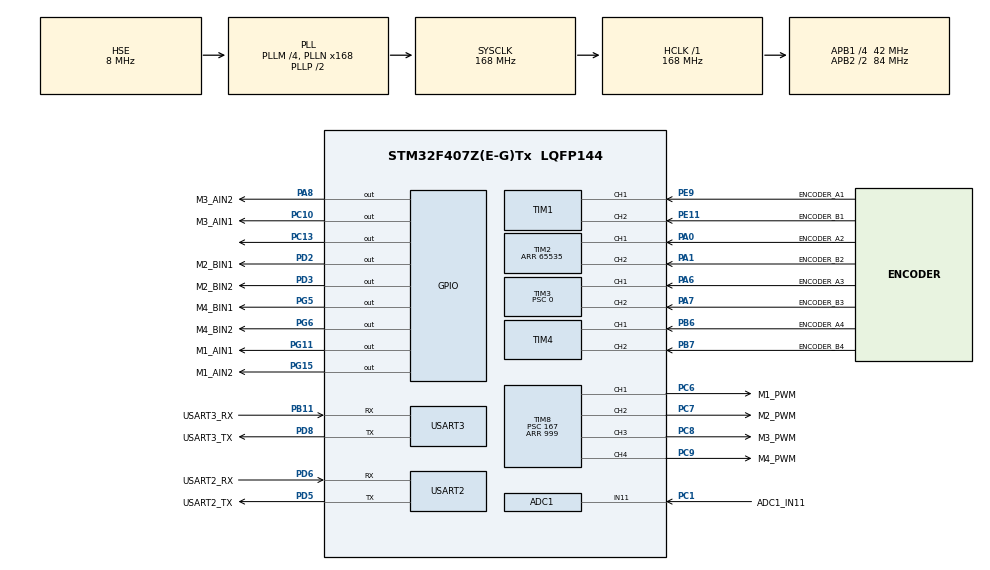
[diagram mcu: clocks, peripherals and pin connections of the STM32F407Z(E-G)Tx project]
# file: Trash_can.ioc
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ADC1.Channel-0\#ChannelRegularConversion=ADC_CHANNEL_11
ADC1.Channel-1\#ChannelInjectedConversion=ADC_CHANNEL_11
ADC1.InjNumberOfConversion=1
ADC1.InjectedOffset-1\#ChannelInjectedConversion=0
ADC1.InjectedRank-1\#ChannelInjectedConversion=1
ADC1.NbrOfConversion=1
ADC1.NbrOfConversionFlag=1
ADC1.Rank-0\#ChannelRegularConversion=1
ADC1.SamplingTime-0\#ChannelRegularConversion=ADC_SAMPLETIME_3CYCLES
ADC1.SamplingTime-1\#ChannelInjectedConversion=ADC_SAMPLETIME_15CYCLES
ADC1.master=1
Dma.Request0=USART2_RX
Dma.Request1=USART2_TX
Dma.USART2_RX.0.Direction=DMA_PERIPH_TO_MEMORY
Dma.USART2_RX.0.FIFOMode=DMA_FIFOMODE_DISABLE
Dma.USART2_RX.0.Instance=DMA1_Stream5
Dma.USART2_RX.0.MemDataAlignment=DMA_MDATAALIGN_BYTE
Dma.USART2_RX.0.MemInc=DMA_MINC_ENABLE
Dma.USART2_RX.0.Mode=DMA_CIRCULAR
Dma.USART2_RX.0.PeriphDataAlignment=DMA_PDATAALIGN_BYTE
Dma.USART2_RX.0.PeriphInc=DMA_PINC_DISABLE
Dma.USART2_RX.0.Priority=DMA_PRIORITY_LOW
Dma.USART2_TX.1.Direction=DMA_MEMORY_TO_PERIPH
Dma.USART2_TX.1.FIFOMode=DMA_FIFOMODE_DISABLE
Dma.USART2_TX.1.Instance=DMA1_Stream6
Dma.USART2_TX.1.MemDataAlignment=DMA_MDATAALIGN_BYTE
Dma.USART2_TX.1.MemInc=DMA_MINC_ENABLE
Dma.USART2_TX.1.Mode=DMA_NORMAL
Dma.USART2_TX.1.PeriphDataAlignment=DMA_PDATAALIGN_BYTE
Dma.USART2_TX.1.PeriphInc=DMA_PINC_DISABLE
Dma.USART2_TX.1.Priority=DMA_PRIORITY_LOW
FREERTOS.BinarySemaphores01=VisionReadySem,Dynamic,NULL,Available;myBinarySem02,Dynamic,NULL,Available
FREERTOS.Queues01=VisionQueue,5,8,1,Dynamic,NULL,NULL;CommandQueue,3,8,1,Dynamic,NULL,NULL
FREERTOS.Tasks01=VisionTask,40,512,StartVisionTask,Default,NULL,Dynamic,NULL,NULL;MotionTask,32,512,StartMotionTask,Default,NULL,Dynamic,NULL,NULL;StateTask,24,256,StartStateTask,Default,NULL,Dynamic,NULL,NULL;DebugTask,16,256,StartDebugTask,Default,NULL,Dynamic,NULL,NULL
Mcu.Family=STM32F4
Mcu.Name=STM32F407Z(E-G)Tx
Mcu.Package=LQFP144
NVIC.DMA1_Stream5_IRQn=true\:5\:0\:false\:false\:true\:true\:false\:true\:true
NVIC.DMA1_Stream6_IRQn=true\:5\:0\:false\:false\:true\:true\:false\:true\:true
NVIC.PriorityGroup=NVIC_PRIORITYGROUP_4
NVIC.TIM1_UP_TIM10_IRQn=true\:5\:0\:false\:false\:true\:true\:true\:true\:true
NVIC.TIM2_IRQn=true\:5\:0\:false\:false\:true\:true\:true\:true\:true
NVIC.TIM3_IRQn=true\:5\:0\:false\:false\:true\:true\:true\:true\:true
NVIC.TIM4_IRQn=true\:5\:0\:false\:false\:true\:true\:true\:true\:true
NVIC.USART2_IRQn=true\:5\:0\:false\:false\:true\:true\:true\:true\:true
NVIC.USART3_IRQn=true\:5\:0\:false\:false\:true\:true\:true\:true\:true
PA0-WKUP.GPIO_Label=ENCODER_A2
PA0-WKUP.Signal=S_TIM2_CH1_ETR
PA1.GPIO_Label=ENCODER_B2
PA1.Signal=S_TIM2_CH2
PA13.Mode=Serial_Wire
PA13.Signal=SYS_JTMS-SWDIO
PA14.Mode=Serial_Wire
PA14.Signal=SYS_JTCK-SWCLK
PA6.GPIO_Label=ENCODER_A3
PA6.Signal=S_TIM3_CH1
PA7.GPIO_Label=ENCODER_B3
PA7.Signal=S_TIM3_CH2
PA8.GPIO_Label=M3_AIN2
PA8.Signal=GPIO_Output
PB11.GPIO_Label=USART3_RX
PB11.Mode=Asynchronous
PB11.Signal=USART3_RX
PB6.GPIO_Label=ENCODER_A4
PB6.Signal=S_TIM4_CH1
PB7.GPIO_Label=ENCODER_B4
PB7.Signal=S_TIM4_CH2
PC1.GPIO_Label=ADC1_IN11
PC1.Signal=ADCx_IN11
PC10.GPIO_Label=M3_AIN1
PC10.Signal=GPIO_Output
PC13-ANTI_TAMP.Signal=GPIO_Output
PC6.GPIO_Label=M1_PWM
PC6.Signal=S_TIM8_CH1
PC7.GPIO_Label=M2_PWM
PC7.Signal=S_TIM8_CH2
PC8.GPIO_Label=M3_PWM
PC8.Signal=S_TIM8_CH3
PC9.GPIO_Label=M4_PWM
PC9.Signal=S_TIM8_CH4
PD2.GPIO_Label=M2_BIN1
PD2.Signal=GPIO_Output
PD3.GPIO_Label=M2_BIN2
PD3.Signal=GPIO_Output
PD5.GPIO_Label=USART2_TX
PD5.Mode=Asynchronous
PD5.Signal=USART2_TX
PD6.GPIO_Label=USART2_RX
PD6.Mode=Asynchronous
PD6.Signal=USART2_RX
PD8.GPIO_Label=USART3_TX
PD8.Mode=Asynchronous
PD8.Signal=USART3_TX
PE11.GPIO_Label=ENCODER_B1
PE11.Signal=S_TIM1_CH2
PE9.GPIO_Label=ENCODER_A1
PE9.Signal=S_TIM1_CH1
PG11.GPIO_Label=M1_AIN1
PG11.Signal=GPIO_Output
PG15.GPIO_Label=M1_AIN2
PG15.Signal=GPIO_Output
PG5.GPIO_Label=M4_BIN1
PG5.Signal=GPIO_Output
PG6.GPIO_Label=M4_BIN2
PG6.Signal=GPIO_Output
PH0-OSC_IN.Mode=HSE-External-Oscillator
PH0-OSC_IN.Signal=RCC_OSC_IN
PH1-OSC_OUT.Mode=HSE-External-Oscillator
PH1-OSC_OUT.Signal=RCC_OSC_OUT
ProjectManager.HeapSize=0x200
ProjectManager.StackSize=0x400
ProjectManager.TargetToolchain=STM32CubeIDE
RCC.48MHZClocksFreq_Value=84000000
RCC.AHBFreq_Value=168000000
RCC.APB1CLKDivider=RCC_HCLK_DIV4
RCC.APB1Freq_Value=42000000
RCC.APB1TimFreq_Value=84000000
RCC.APB2CLKDivider=RCC_HCLK_DIV2
RCC.APB2Freq_Value=84000000
RCC.APB2TimFreq_Value=168000000
RCC.CortexFreq_Value=168000000
RCC.HCLKFreq_Value=168000000
RCC.HSE_VALUE=8000000
RCC.HSI_VALUE=16000000
RCC.LSE_VALUE=32768
RCC.PLLM=4
RCC.PLLN=168
RCC.PLLSourceVirtual=RCC_PLLSOURCE_HSE
RCC.PWR_Regulator_Voltage_Scale=PWR_REGULATOR_VOLTAGE_SCALE1
RCC.SYSCLKFreq_VALUE=168000000
RCC.SYSCLKSource=RCC_SYSCLKSOURCE_PLLCLK
RCC.VCOOutputFreq_Value=336000000
SH.ADCx_IN11.0=ADC1_IN11,IN11
SH.S_TIM1_CH1.0=TIM1_CH1,Encoder_Interface
SH.S_TIM1_CH2.0=TIM1_CH2,Encoder_Interface
SH.S_TIM2_CH1_ETR.0=TIM2_CH1,Encoder_Interface
SH.S_TIM2_CH2.0=TIM2_CH2,Encoder_Interface
SH.S_TIM3_CH1.0=TIM3_CH1,Encoder_Interface
SH.S_TIM3_CH2.0=TIM3_CH2,Encoder_Interface
SH.S_TIM4_CH1.0=TIM4_CH1,Encoder_Interface
SH.S_TIM4_CH2.0=TIM4_CH2,Encoder_Interface
SH.S_TIM8_CH1.0=TIM8_CH1,PWM Generation1 CH1
SH.S_TIM8_CH2.0=TIM8_CH2,PWM Generation2 CH2
SH.S_TIM8_CH3.0=TIM8_CH3,PWM Generation3 CH3
SH.S_TIM8_CH4.0=TIM8_CH4,PWM Generation4 CH4
TIM1.EncoderMode=TIM_ENCODERMODE_TI12
TIM2.EncoderMode=TIM_ENCODERMODE_TI12
TIM2.Period=65535
TIM3.AutoReloadPreload=TIM_AUTORELOAD_PRELOAD_ENABLE
TIM3.EncoderMode=TIM_ENCODERMODE_TI12
TIM3.Period=65535
TIM3.Prescaler=0
TIM4.EncoderMode=TIM_ENCODERMODE_TI12
TIM8.Channel-PWM\ Generation1\ CH1=TIM_CHANNEL_1
TIM8.Channel-PWM\ Generation2\ CH2=TIM_CHANNEL_2
TIM8.Channel-PWM\ Generation3\ CH3=TIM_CHANNEL_3
TIM8.Channel-PWM\ Generation4\ CH4=TIM_CHANNEL_4
TIM8.Period=999
TIM8.Prescaler=167
USART2.VirtualMode=VM_ASYNC
USART3.VirtualMode=VM_ASYNC
VP_FREERTOS_VS_CMSIS_V2.Mode=CMSIS_V2
VP_TIM8_VS_ClockSourceINT.Mode=Internal
board=custom

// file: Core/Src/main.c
/* USER CODE BEGIN Header */
/**
  ******************************************************************************
  * @file           : main.c
  * @brief          : Main program body
  ******************************************************************************
  * @attention
  *
  * Copyright (c) 2026 STMicroelectronics.
  * All rights reserved.
  *
  * This software is licensed under terms that can be found in the LICENSE file
  * in the root directory of this software component.
  * If no LICENSE file comes with this software, it is provided AS-IS.
  *
  ******************************************************************************
  */
/* USER CODE END Header */
#include "main.h"
#include "cmsis_os.h"
#include "adc.h"
#include "dma.h"
#include "tim.h"
#include "usart.h"
#include "gpio.h"

/* USER CODE BEGIN Includes */
#include "motor.h"
/* USER CODE END Includes */

void SystemClock_Config(void);
void MX_FREERTOS_Init(void);

int main(void)
{

  /* MCU Configuration--------------------------------------------------------*/

  /* Reset of all peripherals, Initializes the Flash interface and the Systick. */
  HAL_Init();

  /* Configure the system clock */
  SystemClock_Config();

  /* Initialize all configured peripherals */
  MX_GPIO_Init();
  MX_DMA_Init();

  MX_USART2_UART_Init();
  MX_USART3_UART_Init();
  MX_TIM1_Init();
  MX_TIM2_Init();
  MX_TIM3_Init();
  MX_TIM4_Init();
  MX_TIM8_Init();
  MX_ADC1_Init();

  /* Init scheduler */
  osKernelInitialize();  /* Call init function for freertos objects (in cmsis_os2.c) */
  MX_FREERTOS_Init();

  /* Start scheduler */
  osKernelStart();

  /* We should never get here as control is now taken by the scheduler */

  /* Infinite loop */
  while (1)
  {

  }
}

void SystemClock_Config(void)
{
  RCC_OscInitTypeDef RCC_OscInitStruct = {0};
  RCC_ClkInitTypeDef RCC_ClkInitStruct = {0};

  /** Configure the main internal regulator output voltage
  */
  __HAL_RCC_PWR_CLK_ENABLE();
  __HAL_PWR_VOLTAGESCALING_CONFIG(PWR_REGULATOR_VOLTAGE_SCALE1);

  /** Initializes the RCC Oscillators according to the specified parameters
  * in the RCC_OscInitTypeDef structure.
  */
  RCC_OscInitStruct.OscillatorType = RCC_OSCILLATORTYPE_HSE;
  RCC_OscInitStruct.HSEState = RCC_HSE_ON;
  RCC_OscInitStruct.PLL.PLLState = RCC_PLL_ON;
  RCC_OscInitStruct.PLL.PLLSource = RCC_PLLSOURCE_HSE;
  RCC_OscInitStruct.PLL.PLLM = 4;
  RCC_OscInitStruct.PLL.PLLN = 168;
  RCC_OscInitStruct.PLL.PLLP = RCC_PLLP_DIV2;
  RCC_OscInitStruct.PLL.PLLQ = 4;
  if (HAL_RCC_OscConfig(&RCC_OscInitStruct) != HAL_OK)
  {
    Error_Handler();
  }

  /** Initializes the CPU, AHB and APB buses clocks
  */
  RCC_ClkInitStruct.ClockType = RCC_CLOCKTYPE_HCLK|RCC_CLOCKTYPE_SYSCLK
                              |RCC_CLOCKTYPE_PCLK1|RCC_CLOCKTYPE_PCLK2;
  RCC_ClkInitStruct.SYSCLKSource = RCC_SYSCLKSOURCE_PLLCLK;
  RCC_ClkInitStruct.AHBCLKDivider = RCC_SYSCLK_DIV1;
  RCC_ClkInitStruct.APB1CLKDivider = RCC_HCLK_DIV4;
  RCC_ClkInitStruct.APB2CLKDivider = RCC_HCLK_DIV2;

  if (HAL_RCC_ClockConfig(&RCC_ClkInitStruct, FLASH_LATENCY_5) != HAL_OK)
  {
    Error_Handler();
  }
}

/* USER CODE BEGIN 4 */

/* 全局标志位 */
volatile uint8_t usart2_rx_flag = 0;
volatile uint8_t usart3_rx_flag = 0;
volatile uint8_t encoder1_flag = 0;
volatile uint8_t encoder2_flag = 0;
volatile uint8_t encoder3_flag = 0;
volatile uint8_t encoder4_flag = 0;

/**
  * @brief  UART Rx Transfer completed callback
  * @param  huart: UART handle
  * @retval None
  */
void HAL_UART_RxCpltCallback(UART_HandleTypeDef *huart)
{
  static uint8_t rx_buf2[1] = {0};
  static uint8_t rx_buf3[1] = {0};

  if (huart == &huart2) {
    /* USART2 接收完成，设置标志位 */
    usart2_rx_flag = 1;
    /* 重新启动接收中断 */
    HAL_UART_Receive_IT(&huart2, rx_buf2, 1);
  } else if (huart == &huart3) {
    /* USART3 接收完成，设置标志位 */
    usart3_rx_flag = 1;
    /* 重新启动接收中断 */
    HAL_UART_Receive_IT(&huart3, rx_buf3, 1);
  }
}

/**
  * @brief  TIM encoder pulse callback
  * @param  htim: TIM handle
  * @retval None
  */
void HAL_TIM_IC_CaptureCallback(TIM_HandleTypeDef *htim)
{
  // 编码器中断只用于捕获脉冲，设置标志位由任务处理
  if (htim == &htim1) {
    encoder1_flag = 1;
  } else if (htim == &htim2) {
    encoder2_flag = 1;
  } else if (htim == &htim3) {
    encoder3_flag = 1;
  } else if (htim == &htim4) {
    encoder4_flag = 1;
  }
}

/* USER CODE END 4 */

void Error_Handler(void)
{
  __disable_irq();
  while (1)
  {
  }
}

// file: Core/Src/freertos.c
/* USER CODE BEGIN Header */
/**
  ******************************************************************************
  * File Name          : freertos.c
  * Description        : Code for freertos applications
  ******************************************************************************
  * @attention
  *
  * Copyright (c) 2026 STMicroelectronics.
  * All rights reserved.
  *
  * This software is licensed under terms that can be found in the LICENSE file
  * in the root directory of this software component.
  * If no LICENSE file comes with this software, it is provided AS-IS.
  *
  ******************************************************************************
  */
/* USER CODE END Header */

#include "FreeRTOS.h"
#include "task.h"
#include "main.h"
#include "cmsis_os.h"

/* USER CODE BEGIN Includes */
#include "motor.h"
#include "pid.h"
#include "stdio.h"
#include "adc.h"
#include "usart.h"
#include <string.h>
/* 外部全局标志位声明 */
extern volatile uint8_t usart2_rx_flag;
extern volatile uint8_t usart3_rx_flag;
extern volatile uint8_t encoder1_flag;
extern volatile uint8_t encoder2_flag;
extern volatile uint8_t encoder3_flag;
extern volatile uint8_t encoder4_flag;
/* USER CODE END Includes */

/* USER CODE BEGIN Variables */
int16_t g_motor_speed[4] = {0, 0, 0, 0};  /* 四个电机独立目标速度（脉冲/秒）*/

/* 串口指令缓冲区 */
uint8_t uart_rx_buf[3] = {0};  /* 存储接收到的指令：[0]=包头, [1]=指令, [2]=包尾 */
uint8_t uart_rx_index = 0;      /* 接收索引 */
/* USER CODE END Variables */
/* Definitions for VisionTask */
osThreadId_t VisionTaskHandle;
const osThreadAttr_t VisionTask_attributes = {
  .name = "VisionTask",
  .stack_size = 512 * 4,
  .priority = (osPriority_t) osPriorityHigh,
};
/* Definitions for MotionTask */
osThreadId_t MotionTaskHandle;
const osThreadAttr_t MotionTask_attributes = {
  .name = "MotionTask",
  .stack_size = 512 * 4,
  .priority = (osPriority_t) osPriorityAboveNormal,
};
/* Definitions for StateTask */
osThreadId_t StateTaskHandle;
const osThreadAttr_t StateTask_attributes = {
  .name = "StateTask",
  .stack_size = 256 * 4,
  .priority = (osPriority_t) osPriorityNormal,
};
/* Definitions for DebugTask */
osThreadId_t DebugTaskHandle;
const osThreadAttr_t DebugTask_attributes = {
  .name = "DebugTask",
  .stack_size = 256 * 4,
  .priority = (osPriority_t) osPriorityBelowNormal,
};
/* Definitions for VisionQueue */
osMessageQueueId_t VisionQueueHandle;
const osMessageQueueAttr_t VisionQueue_attributes = {
  .name = "VisionQueue"
};
/* Definitions for CommandQueue */
osMessageQueueId_t CommandQueueHandle;
const osMessageQueueAttr_t CommandQueue_attributes = {
  .name = "CommandQueue"
};
/* Definitions for VisionReadySem */
osSemaphoreId_t VisionReadySemHandle;
const osSemaphoreAttr_t VisionReadySem_attributes = {
  .name = "VisionReadySem"
};
/* Definitions for myBinarySem02 */
osSemaphoreId_t myBinarySem02Handle;
const osSemaphoreAttr_t myBinarySem02_attributes = {
  .name = "myBinarySem02"
};

void StartVisionTask(void *argument);
void StartMotionTask(void *argument);
void StartStateTask(void *argument);
void StartDebugTask(void *argument);

void MX_FREERTOS_Init(void); /* (MISRA C 2004 rule 8.1) */

void MX_FREERTOS_Init(void) {

  /* Create the semaphores(s) */
  /* creation of VisionReadySem */
  VisionReadySemHandle = osSemaphoreNew(1, 1, &VisionReadySem_attributes);

  /* creation of myBinarySem02 */
  myBinarySem02Handle = osSemaphoreNew(1, 1, &myBinarySem02_attributes);

  /* Create the queue(s) */
  /* creation of VisionQueue */
  VisionQueueHandle = osMessageQueueNew (5, 8, &VisionQueue_attributes);

  /* creation of CommandQueue */
  CommandQueueHandle = osMessageQueueNew (3, 8, &CommandQueue_attributes);

  /* Create the thread(s) */
  /* creation of VisionTask */
  VisionTaskHandle = osThreadNew(StartVisionTask, NULL, &VisionTask_attributes);

  /* creation of MotionTask */
  MotionTaskHandle = osThreadNew(StartMotionTask, NULL, &MotionTask_attributes);

  /* creation of StateTask */
  StateTaskHandle = osThreadNew(StartStateTask, NULL, &StateTask_attributes);

  /* creation of DebugTask */
  DebugTaskHandle = osThreadNew(StartDebugTask, NULL, &DebugTask_attributes);

}

void StartVisionTask(void *argument)
{
  for(;;)
  {
    osDelay(1);
  }
}

void StartMotionTask(void *argument)
{
  /* USER CODE BEGIN StartMotionTask */
  /* 初始化电机 */
  Motor_Init();

  /* 初始化PID控制器 */
  PID_MotorInit();

  /* 实际速度（脉冲/秒）和PID输出 */
  int16_t actual_speed1, actual_speed2, actual_speed3, actual_speed4;
  int16_t pid_output1, pid_output2, pid_output3, pid_output4;
  int16_t target_speed1, target_speed2, target_speed3, target_speed4;

  /* Infinite loop */
  for(;;)
  {
    /* 处理编码器中断标志位 */
    if (encoder1_flag) {
      Encoder_Update(1);
      encoder1_flag = 0;
    }
    if (encoder2_flag) {
      Encoder_Update(2);
      encoder2_flag = 0;
    }
    if (encoder3_flag) {
      Encoder_Update(3);
      encoder3_flag = 0;
    }
    if (encoder4_flag) {
      Encoder_Update(4);
      encoder4_flag = 0;
    }

    /* 计算编码器速度（脉冲/秒）*/
    Encoder_CalculateSpeed(1, PID_CONTROL_PERIOD);
    Encoder_CalculateSpeed(2, PID_CONTROL_PERIOD);
    Encoder_CalculateSpeed(3, PID_CONTROL_PERIOD);
    Encoder_CalculateSpeed(4, PID_CONTROL_PERIOD);

    /* 获取实际速度（脉冲/秒）*/
    actual_speed1 = Encoder_GetSpeed(1);
    actual_speed2 = Encoder_GetSpeed(2);
    actual_speed3 = Encoder_GetSpeed(3);
    actual_speed4 = Encoder_GetSpeed(4);

    /* 获取各电机目标速度并限幅 */
    target_speed1 = g_motor_speed[0];
    target_speed2 = g_motor_speed[1];
    target_speed3 = g_motor_speed[2];
    target_speed4 = g_motor_speed[3];

    /* 限幅保护 */
    if (target_speed1 > MOTOR_MAX_SPEED_PPS) target_speed1 = MOTOR_MAX_SPEED_PPS;
    if (target_speed1 < -MOTOR_MAX_SPEED_PPS) target_speed1 = -MOTOR_MAX_SPEED_PPS;
    if (target_speed2 > MOTOR_MAX_SPEED_PPS) target_speed2 = MOTOR_MAX_SPEED_PPS;
    if (target_speed2 < -MOTOR_MAX_SPEED_PPS) target_speed2 = -MOTOR_MAX_SPEED_PPS;
    if (target_speed3 > MOTOR_MAX_SPEED_PPS) target_speed3 = MOTOR_MAX_SPEED_PPS;
    if (target_speed3 < -MOTOR_MAX_SPEED_PPS) target_speed3 = -MOTOR_MAX_SPEED_PPS;
    if (target_speed4 > MOTOR_MAX_SPEED_PPS) target_speed4 = MOTOR_MAX_SPEED_PPS;
    if (target_speed4 < -MOTOR_MAX_SPEED_PPS) target_speed4 = -MOTOR_MAX_SPEED_PPS;

    /* 执行速度PID闭环控制 */
    pid_output1 = PID_MotorSpeedControl(MOTOR_1, target_speed1, actual_speed1);
    pid_output2 = PID_MotorSpeedControl(MOTOR_2, target_speed2, actual_speed2);
    pid_output3 = PID_MotorSpeedControl(MOTOR_3, target_speed3, actual_speed3);
    pid_output4 = PID_MotorSpeedControl(MOTOR_4, target_speed4, actual_speed4);

    /* 将PID输出应用到电机 */
    Motor_SetSpeed(MOTOR_1, pid_output1);
    Motor_SetSpeed(MOTOR_2, pid_output2);
    Motor_SetSpeed(MOTOR_3, pid_output3);
    Motor_SetSpeed(MOTOR_4, pid_output4);

    osDelay(PID_CONTROL_PERIOD);  /* PID控制周期 */
  }
  /* USER CODE END StartMotionTask */
}

void StartStateTask(void *argument)
{
  /* USER CODE BEGIN StartStateTask */
  /* Infinite loop */
  for(;;)
  {
    HAL_GPIO_TogglePin(LED_GPIO_Port, LED_Pin);
    osDelay(1000);
  }
  /* USER CODE END StartStateTask */
}

/* 串口指令解析函数 */
void ParseUARTCommand(uint8_t cmd)
{
  int16_t speed = DEFAULT_SPEED;

  switch(cmd)
  {
    /* 运动控制指令 */
    case CMD_MOVE_FORWARD:
      /* 前进：电机1正转，电机2反转，电机3反转，电机4正转 */
      g_motor_speed[0] = speed;   /* 电机1正转 */
      g_motor_speed[1] = -speed;  /* 电机2反转 */
      g_motor_speed[2] = -speed;  /* 电机3反转 */
      g_motor_speed[3] = speed;   /* 电机4正转 */
      break;

    case CMD_MOVE_BACKWARD:
      /* 后退：电机1反转，电机2正转，电机3正转，电机4反转 */
      g_motor_speed[0] = -speed;  /* 电机1反转 */
      g_motor_speed[1] = speed;   /* 电机2正转 */
      g_motor_speed[2] = speed;   /* 电机3正转 */
      g_motor_speed[3] = -speed;  /* 电机4反转 */
      break;

    case CMD_MOVE_LEFT:
      /* 向左：电机1反转，电机2反转，电机3正转，电机4正转 */
      g_motor_speed[0] = -speed;  /* 电机1反转 */
      g_motor_speed[1] = -speed;  /* 电机2反转 */
      g_motor_speed[2] = speed;   /* 电机3正转 */
      g_motor_speed[3] = speed;   /* 电机4正转 */
      break;

    case CMD_MOVE_RIGHT:
      /* 向右：电机1正转，电机2正转，电机3反转，电机4反转 */
      g_motor_speed[0] = speed;   /* 电机1正转 */
      g_motor_speed[1] = speed;   /* 电机2正转 */
      g_motor_speed[2] = -speed;  /* 电机3反转 */
      g_motor_speed[3] = -speed;  /* 电机4反转 */
      break;

    case CMD_MOVE_STOP:
      /* 停止：所有电机速度设为0 */
      g_motor_speed[0] = 0;
      g_motor_speed[1] = 0;
      g_motor_speed[2] = 0;
      g_motor_speed[3] = 0;
      break;

    /* PID调参指令 - 直接修改PID参数 */
    case CMD_KP_INC:
      g_PidMotor1.Kp += 1.0f;
      g_PidMotor2.Kp += 1.0f;
      g_PidMotor3.Kp += 1.0f;
      g_PidMotor4.Kp += 1.0f;
      break;

    case CMD_KP_DEC:
      g_PidMotor1.Kp -= 1.0f;
      g_PidMotor2.Kp -= 1.0f;
      g_PidMotor3.Kp -= 1.0f;
      g_PidMotor4.Kp -= 1.0f;
      break;

    case CMD_KI_INC:
      g_PidMotor1.Ki += 0.1f;
      g_PidMotor2.Ki += 0.1f;
      g_PidMotor3.Ki += 0.1f;
      g_PidMotor4.Ki += 0.1f;
      break;

    case CMD_KI_DEC:
      g_PidMotor1.Ki -= 0.1f;
      g_PidMotor2.Ki -= 0.1f;
      g_PidMotor3.Ki -= 0.1f;
      g_PidMotor4.Ki -= 0.1f;
      break;

    case CMD_KD_INC:
      g_PidMotor1.Kd += 1.0f;
      g_PidMotor2.Kd += 1.0f;
      g_PidMotor3.Kd += 1.0f;
      g_PidMotor4.Kd += 1.0f;
      break;

    case CMD_KD_DEC:
      g_PidMotor1.Kd -= 1.0f;
      g_PidMotor2.Kd -= 1.0f;
      g_PidMotor3.Kd -= 1.0f;
      g_PidMotor4.Kd -= 1.0f;
      break;

    default:
      /* 未知指令，忽略 */
      break;
  }
}

void StartDebugTask(void *argument)
{
  /* USER CODE BEGIN StartDebugTask */
  char debug_buf[100];
  char adc_buf[50];
  int16_t act_speed1, act_speed2, act_speed3, act_speed4;
  int32_t encoder_count1, encoder_count2, encoder_count3, encoder_count4;
  static uint8_t rx_buf2[100] = {0};
  static uint8_t rx_buf3[100] = {0};
  static uint32_t rx_len2 = 0;
  static uint32_t rx_len3 = 0;
  uint32_t adc_value = 0;
  uint8_t i;

  /* 发送测试信息 */
  HAL_UART_Transmit(&huart2, (uint8_t*)"USART2 Test Message\r\n", 20, HAL_MAX_DELAY);
  HAL_UART_Transmit(&huart3, (uint8_t*)"USART3 Test Message\r\n", 20, HAL_MAX_DELAY);

  /* 启动串口接收中断 */
  HAL_UART_Receive_IT(&huart2, rx_buf2, 1);
  HAL_UART_Receive_IT(&huart3, rx_buf3, 1);

  /* 启动ADC */
  HAL_ADC_Start(&hadc1);

  /* Infinite loop */
  for(;;)
  {
    /* 处理USART2接收数据 */
    if (usart2_rx_flag) {
      rx_len2 = HAL_UART_Receive(&huart2, rx_buf2, 100, 100);
      if (rx_len2 > 0) {
        HAL_UART_Transmit(&huart2, rx_buf2, rx_len2, HAL_MAX_DELAY);
      }
      usart2_rx_flag = 0;
    }

    /* 处理USART3接收数据（解析指令）*/
    if (usart3_rx_flag) {
      rx_len3 = HAL_UART_Receive(&huart3, rx_buf3, 100, 100);
      if (rx_len3 > 0) {
        /* 解析指令格式：FF（包头）+ 指令（1字节）+ FE（包尾）*/
        for (i = 0; i < rx_len3; i++) {
          if (uart_rx_index == 0 && rx_buf3[i] == CMD_HEAD) {
            /* 收到包头 */
            uart_rx_buf[0] = rx_buf3[i];
            uart_rx_index = 1;
          } else if (uart_rx_index == 1) {
            /* 收到指令 */
            uart_rx_buf[1] = rx_buf3[i];
            uart_rx_index = 2;
          } else if (uart_rx_index == 2 && rx_buf3[i] == CMD_TAIL) {
            /* 收到包尾，完成一条指令 */
            uart_rx_buf[2] = rx_buf3[i];
            ParseUARTCommand(uart_rx_buf[1]);  /* 解析指令 */
            uart_rx_index = 0;  /* 重置索引 */
          } else {
            /* 格式错误，重置 */
            uart_rx_index = 0;
          }
        }
      }
      usart3_rx_flag = 0;
    }

    /* 根据调试模式输出不同内容 */
    #if DEBUG_MODE == 1
      /* DEBUG_MODE=1: 速度PID模式，输出目标速度和实际速度（脉冲/秒）*/
      act_speed1 = Encoder_GetSpeed(1);
      act_speed2 = Encoder_GetSpeed(2);
      act_speed3 = Encoder_GetSpeed(3);
      act_speed4 = Encoder_GetSpeed(4);

      sprintf(debug_buf, "T:1:%4d 2:%4d 3:%4d 4:%4d | A:1:%4d 2:%4d 3:%4d 4:%4d pps\r\n",
              g_motor_speed[0], g_motor_speed[1], g_motor_speed[2], g_motor_speed[3],
              act_speed1, act_speed2, act_speed3, act_speed4);
    #elif DEBUG_MODE == 0
      /* DEBUG_MODE=0: 编码器模式，输出累计脉冲数 */
      encoder_count1 = Encoder_GetCount(1);
      encoder_count2 = Encoder_GetCount(2);
      encoder_count3 = Encoder_GetCount(3);
      encoder_count4 = Encoder_GetCount(4);

      sprintf(debug_buf, "ENC: 1:%8ld 2:%8ld 3:%8ld 4:%8ld\r\n",
              encoder_count1, encoder_count2, encoder_count3, encoder_count4);
    #endif

    /* 发送到串口3 */
    HAL_UART_Transmit(&huart3, (uint8_t*)debug_buf, strlen(debug_buf), HAL_MAX_DELAY);

    /* ADC采样 */
    HAL_ADC_Start(&hadc1);
    if (HAL_ADC_PollForConversion(&hadc1, 100) == HAL_OK) {
      adc_value = HAL_ADC_GetValue(&hadc1);
      sprintf(adc_buf, "ADC:%lu\r\n", adc_value);
      HAL_UART_Transmit(&huart3, (uint8_t*)adc_buf, strlen(adc_buf), HAL_MAX_DELAY);
    }

    osDelay(1000);  /* 每秒输出一次 */
  }
  /* USER CODE END StartDebugTask */
}
